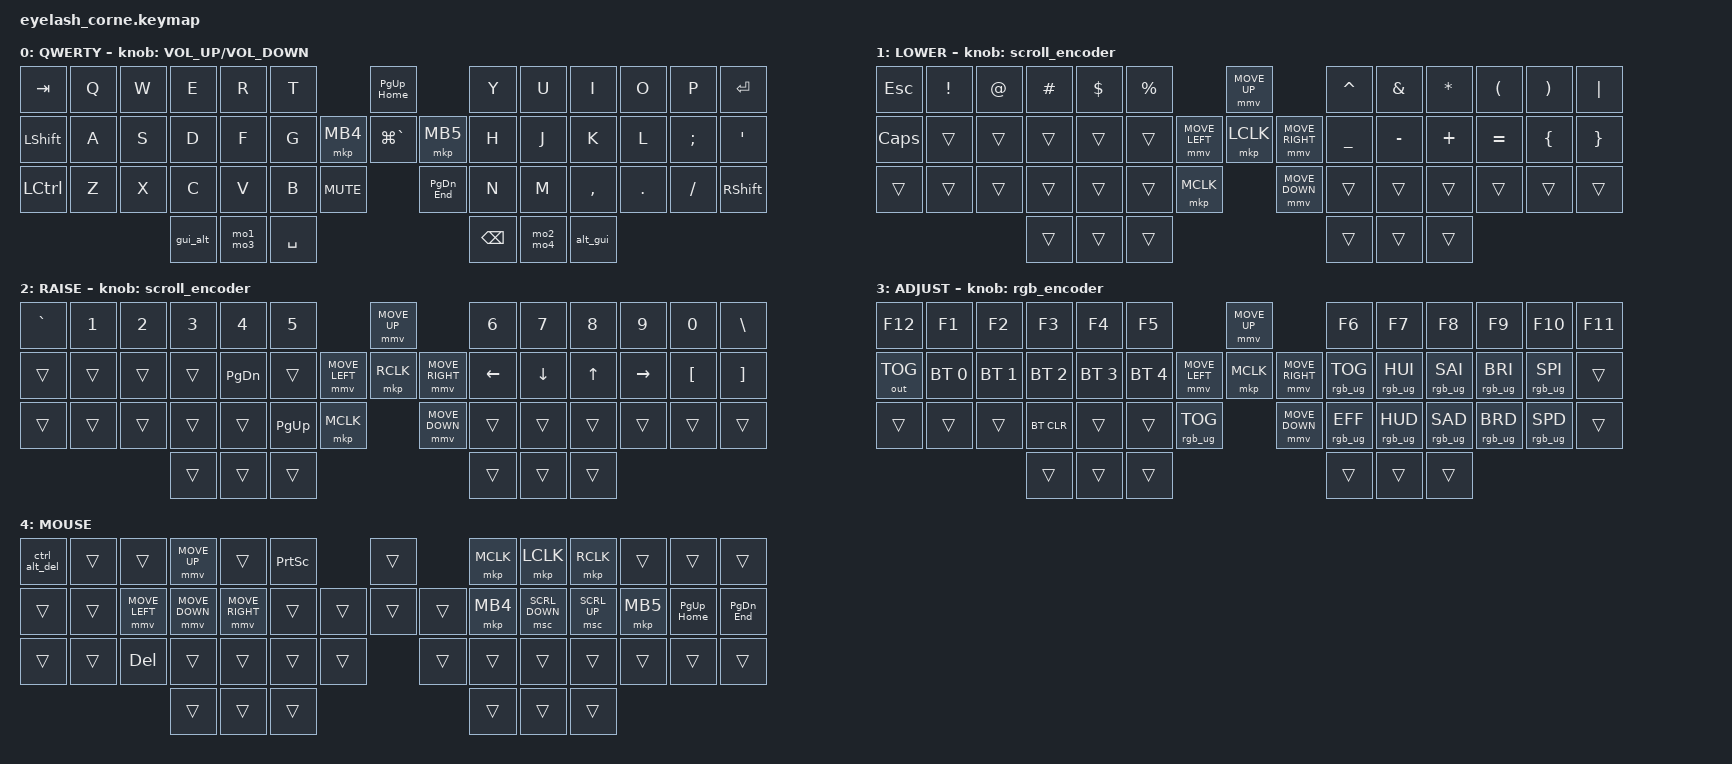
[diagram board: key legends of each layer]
#define ZMK_POINTING_DEFAULT_MOVE_VAL 1200  // default: 600
#define ZMK_POINTING_DEFAULT_SCRL_VAL 15    // default: 10
#define U_MS_U &mmv MOVE_UP
#define U_MS_D &mmv MOVE_DOWN
#define U_MS_L &mmv MOVE_LEFT
#define U_MS_R &mmv MOVE_RIGHT

// https://zmk.dev/docs/keymaps/behaviors/hold-tap#example-use-cases

#define MO_TOG(layer) &mo_tog layer layer   // Macro to apply momentary-layer-on-hold/toggle-layer-on-tap to a specific layer
#define HOLD_TOG(layer) &hold_tog layer layer

#include <input/processors.dtsi>
#include <zephyr/dt-bindings/input/input-event-codes.h>
#include <behaviors.dtsi>
#include <dt-bindings/zmk/bt.h>
#include <dt-bindings/zmk/keys.h>
#include <dt-bindings/zmk/outputs.h>
#include <dt-bindings/zmk/pointing.h>
#include <dt-bindings/zmk/rgb.h>

&mmv_input_listener { input-processors = <&zip_xy_scaler 2 1>; };

&msc_input_listener { input-processors = <&zip_scroll_scaler 2 1>; };

&msc {
    acceleration-exponent = <0>;      // 0
    time-to-max-speed-ms = <100>;       // 300
    delay-ms = <0>;                   // 0
};

&mmv {
    time-to-max-speed-ms = <500>;
    acceleration-exponent = <0>;
    trigger-period-ms = <16>;
};

&soft_off { hold-time-ms = <2000>; };

/ {
    behaviors {
        hold_tog: hold_toggle {
            compatible = "zmk,behavior-hold-tap";
            #binding-cells = <2>;
            tapping_term_ms = <500>;
            quick_tap_ms = <0>;
            flavor = "tap-preferred";
            bindings = <&tog>, <&mo>;
        };

        // Tap for Page up, Double Tap for Home
        PgUp_Home: PgUp_Home {
            compatible = "zmk,behavior-tap-dance";
            #binding-cells = <0>;
            tapping-term-ms = <400>;
            bindings = <&kp PG_UP>, <&kp HOME>;
        };

        // Tap for Page Down, Double Tap for End
        PgDn_End: PgDn_End {
            compatible = "zmk,behavior-tap-dance";
            #binding-cells = <0>;
            tapping-term-ms = <400>;
            bindings = <&kp PG_DN>, <&kp END>;
        };

        // Tap for Left GUI, Double Tap for Left Alt
        gui_alt: gui_alt {
            compatible = "zmk,behavior-tap-dance";
            #binding-cells = <0>;
            tapping-term-ms = <200>;
            bindings = <&kp LGUI>, <&kp LALT>;
        };

        // Tap for Right Alt, Double Tap for Right GUI
        alt_gui: alt_gui {
            compatible = "zmk,behavior-tap-dance";
            #binding-cells = <0>;
            tapping-term-ms = <200>;
            bindings = <&kp RALT>, <&kp RGUI>;
        };
        

        // Hold for layer 1, double tap and hold for layer 3
        mo1_mo3: mo1_mo3 {
            compatible = "zmk,behavior-tap-dance";
            #binding-cells = <0>;
            tapping-term-ms = <400>;
            bindings = <&mo 1>, <&mo 3>;
        };

        // Hold for layer 2, double tap and hold for layer 4
        mo2_mo4: mo2_mo4 {
            compatible = "zmk,behavior-tap-dance";
            #binding-cells = <0>;
            tapping-term-ms = <400>;
            bindings = <&mo 2>, <&mo 4>;
        };

        // Hold for layer 2, double tap and hold to toggle layer 4
        mo2_holdtog4: mo2_holdtog4 {
            compatible = "zmk,behavior-tap-dance";
            label = "MO2_HOLDTOG4";
            #binding-cells = <0>;
            bindings = <&mo 2>, <&hold_tog 4 2>;
            tapping-term-ms = <200>;
        };

        hrm: hr {
            compatible = "zmk,behavior-hold-tap";
            label = "hrm";
            bindings = <&kp>, <&kp>;

            #binding-cells = <2>;
            tapping-term-ms = <200>;
            flavor = "balanced";
            quick-tap-ms = <150>;
        };
    };

    macros {
        ctrl_alt_del: ctrl_alt_del {
          compatible = "zmk,behavior-macro";
          #binding-cells = <0>;
          bindings
              = <&kp LC(LA(DEL))>
              ;
        };

    };

    rgb_encoder: rgb_encoder {
        compatible = "zmk,behavior-sensor-rotate";
        #sensor-binding-cells = <0>;
        bindings = <&rgb_ug RGB_BRI>, <&rgb_ug RGB_BRD>;
    };

    scroll_encoder: scroll_encoder {
        compatible = "zmk,behavior-sensor-rotate";
        #sensor-binding-cells = <0>;
        bindings = <&msc SCRL_DOWN>, <&msc SCRL_UP>;

        tap-ms = <30>;
    };

    combos {
        compatible = "zmk,combos";

        softoff {
            bindings = <&soft_off>;
            key-positions = <1 15 29>;
        };
    };

    keymap {
        compatible = "zmk,keymap";

        default_layer {
            display-name = "QWERTY";
            bindings = <
//        ┌──────┬───┬───┬──────────┬─────────┬─────┐             ┌────────────┐      ┌──────┬─────────┬──────────┬───┬───┬──────┐
//        │ tab  │ Q │ W │    E     │    R    │  T  │             │ &PgUp_Home │      │  Y   │    U    │    I     │ O │ P │ ent  │
//        ├──────┼───┼───┼──────────┼─────────┼─────┤      ┌──────┼────────────┼──────┼──────┼─────────┼──────────┼───┼───┼──────┤
//        │ lsft │ A │ S │    D     │    F    │  G  │      │ mbck │  lgui(`)   │ mfwd │  H   │    J    │    K     │ L │ ; │  '   │
//        ├──────┼───┼───┼──────────┼─────────┼─────┼──────┼──────┼────────────┼──────┼──────┼─────────┼──────────┼───┼───┼──────┤
//        │ lctl │ Z │ X │    C     │    V    │  B  │ mute │      │ &PgDn_End  │      │  N   │    M    │    ,     │ . │ / │ rsft │
//        └──────┴───┴───┼──────────┼─────────┼─────┼──────┘      └────────────┘      ├──────┼─────────┼──────────┼───┴───┴──────┘
//                       │ &gui_alt │ mo1_mo3 │ spc │                                 │ bspc │ mo2_mo4 │ &alt_gui │
//                       └──────────┴─────────┴─────┘                                 └──────┴─────────┴──────────┘
      &kp TAB     &kp Q   &kp W   &kp E      &kp R      &kp T                               &PgUp_Home                 &kp Y      &kp U      &kp I       &kp O     &kp P      &kp ENTER
      &kp LSHFT   &kp A   &kp S   &kp D      &kp F      &kp G                    &mkp MB4   &kp LG(GRAVE)   &mkp MB5   &kp H      &kp J      &kp K       &kp L     &kp SEMI   &kp SQT
      &kp LCTRL   &kp Z   &kp X   &kp C      &kp V      &kp B       &kp C_MUTE              &PgDn_End                  &kp N      &kp M      &kp COMMA   &kp DOT   &kp FSLH   &kp RSHFT
                                  &gui_alt   &mo1_mo3   &kp SPACE                                                      &kp BSPC   &mo2_mo4   &alt_gui
            >;

            sensor-bindings = <&inc_dec_kp C_VOLUME_UP C_VOLUME_DOWN>;
        };

        lower_layer {
            display-name = "LOWER";
            bindings = <
//        ┌──────┬─────┬─────┬─────┬─────┬─────┐                       ┌────────────────┐                ┌─────┬─────┬─────┬─────┬─────┬─────┐
//        │ esc  │  !  │  @  │  #  │  $  │  %  │                       │  &mmv MOVE_up  │                │  ^  │  &  │  *  │  (  │  )  │  |  │
//        ├──────┼─────┼─────┼─────┼─────┼─────┤      ┌────────────────┼────────────────┼────────────────┼─────┼─────┼─────┼─────┼─────┼─────┤
//        │ caps │     │     │     │     │     │      │ &mmv MOVE_left │      lclk      │ &mmv MOVE_rght │  _  │  -  │  +  │  =  │  {  │  }  │
//        ├──────┼─────┼─────┼─────┼─────┼─────┼──────┼────────────────┼────────────────┼────────────────┼─────┼─────┼─────┼─────┼─────┼─────┤
//        │      │     │     │     │     │     │ mclk │                │ &mmv MOVE_down │                │     │     │     │     │     │     │
//        └──────┴─────┴─────┼─────┼─────┼─────┼──────┘                └────────────────┘                ├─────┼─────┼─────┼─────┴─────┴─────┘
//                           │     │     │     │                                                         │     │     │     │
//                           └─────┴─────┴─────┘                                                         └─────┴─────┴─────┘
      &kp ESC    &kp EXCL   &kp AT   &kp HASH   &kp DLLR   &kp PRCNT                                &mmv MOVE_UP                       &kp CARET   &kp AMPS    &kp ASTRK   &kp LPAR    &kp RPAR   &kp PIPE
      &kp CAPS   &trans     &trans   &trans     &trans     &trans                  &mmv MOVE_LEFT   &mkp LCLK        &mmv MOVE_RIGHT   &kp UNDER   &kp MINUS   &kp PLUS    &kp EQUAL   &kp LBRC   &kp RBRC
      &trans     &trans     &trans   &trans     &trans     &trans      &mkp MCLK                    &mmv MOVE_DOWN                     &trans      &trans      &trans      &trans      &trans     &trans
                                     &trans     &trans     &trans                                                                      &trans      &trans      &trans
            >;

            sensor-bindings = <&scroll_encoder>;
        };

        raise_layer {
            display-name = "RAISE";
            bindings = <
//        ┌─────┬─────┬─────┬─────┬──────┬──────┐                       ┌────────────────┐                ┌──────┬──────┬─────┬──────┬─────┬─────┐
//        │  `  │  1  │  2  │  3  │  4   │  5   │                       │  &mmv MOVE_up  │                │  6   │  7   │  8  │  9   │  0  │  \  │
//        ├─────┼─────┼─────┼─────┼──────┼──────┤      ┌────────────────┼────────────────┼────────────────┼──────┼──────┼─────┼──────┼─────┼─────┤
//        │     │     │     │     │ pgdn │      │      │ &mmv MOVE_left │      rclk      │ &mmv MOVE_rght │ left │ down │ up  │ rght │  [  │  ]  │
//        ├─────┼─────┼─────┼─────┼──────┼──────┼──────┼────────────────┼────────────────┼────────────────┼──────┼──────┼─────┼──────┼─────┼─────┤
//        │     │     │     │     │      │ pgup │ mclk │                │ &mmv MOVE_down │                │      │      │     │      │     │     │
//        └─────┴─────┴─────┼─────┼──────┼──────┼──────┘                └────────────────┘                ├──────┼──────┼─────┼──────┴─────┴─────┘
//                          │     │      │      │                                                         │      │      │     │
//                          └─────┴──────┴──────┘                                                         └──────┴──────┴─────┘
      &kp GRAVE   &kp N1   &kp N2   &kp N3   &kp N4      &kp N5                                   &mmv MOVE_UP                       &kp N6     &kp N7     &kp N8   &kp N9      &kp N0     &kp BSLH
      &trans      &trans   &trans   &trans   &kp PG_DN   &trans                  &mmv MOVE_LEFT   &mkp RCLK        &mmv MOVE_RIGHT   &kp LEFT   &kp DOWN   &kp UP   &kp RIGHT   &kp LBKT   &kp RBKT
      &trans      &trans   &trans   &trans   &trans      &kp PG_UP   &mkp MCLK                    &mmv MOVE_DOWN                     &trans     &trans     &trans   &trans      &trans     &trans
                                    &trans   &trans      &trans                                                                      &trans     &trans     &trans
            >;

            sensor-bindings = <&scroll_encoder>;
        };

        layer_3 {
            display-name = "ADJUST";
            bindings = <
//        ┌──────────┬──────────┬──────────┬──────────┬──────────┬──────────┐                          ┌────────────────┐                ┌─────────┬─────────┬─────────┬─────────┬─────────┬─────┐
//        │   f12    │    f1    │    f2    │    f3    │    f4    │    f5    │                          │  &mmv MOVE_up  │                │   f6    │   f7    │   f8    │   f9    │   f10   │ f11 │
//        ├──────────┼──────────┼──────────┼──────────┼──────────┼──────────┤         ┌────────────────┼────────────────┼────────────────┼─────────┼─────────┼─────────┼─────────┼─────────┼─────┤
//        │ out_ tog │ bt_sel 0 │ bt_sel 1 │ bt_sel 2 │ bt_sel 3 │ bt_sel 4 │         │ &mmv MOVE_left │      mclk      │ &mmv MOVE_rght │ ug_ tog │ ug_ hu+ │ ug_ sa+ │ ug_ br+ │ ug_ sp+ │     │
//        ├──────────┼──────────┼──────────┼──────────┼──────────┼──────────┼─────────┼────────────────┼────────────────┼────────────────┼─────────┼─────────┼─────────┼─────────┼─────────┼─────┤
//        │          │          │          │  bt_clr  │          │          │ ug_ tog │                │ &mmv MOVE_down │                │ ug_ eff │ ug_ hu- │ ug_ sa- │ ug_ br- │ ug_ sp- │     │
//        └──────────┴──────────┴──────────┼──────────┼──────────┼──────────┼─────────┘                └────────────────┘                ├─────────┼─────────┼─────────┼─────────┴─────────┴─────┘
//                                         │          │          │          │                                                            │         │         │         │
//                                         └──────────┴──────────┴──────────┘                                                            └─────────┴─────────┴─────────┘
      &kp F12        &kp F1         &kp F2         &kp F3         &kp F4         &kp F5                                            &mmv MOVE_UP                       &kp F6            &kp F7            &kp F8            &kp F9            &kp F10           &kp F11
      &out OUT_TOG   &bt BT_SEL 0   &bt BT_SEL 1   &bt BT_SEL 2   &bt BT_SEL 3   &bt BT_SEL 4                     &mmv MOVE_LEFT   &mkp MCLK        &mmv MOVE_RIGHT   &rgb_ug RGB_TOG   &rgb_ug RGB_HUI   &rgb_ug RGB_SAI   &rgb_ug RGB_BRI   &rgb_ug RGB_SPI   &trans
      &trans         &trans         &trans         &bt BT_CLR     &trans         &trans         &rgb_ug RGB_TOG                    &mmv MOVE_DOWN                     &rgb_ug RGB_EFF   &rgb_ug RGB_HUD   &rgb_ug RGB_SAD   &rgb_ug RGB_BRD   &rgb_ug RGB_SPD   &trans
                                                   &trans         &trans         &trans                                                                               &trans            &trans            &trans
            >;

            sensor-bindings = <&rgb_encoder>;
        };

        layer_4 {
            bindings = <
//        ┌───────────────┬─────┬────────────────┬────────────────┬────────────────┬──────┐           ┌─────┐     ┌──────┬────────────────┬──────────────┬──────┬────────────┬───────────┐
//        │ &ctrl_alt_del │     │                │  &mmv MOVE_up  │                │ pscr │           │     │     │ mclk │      lclk      │     rclk     │      │            │           │
//        ├───────────────┼─────┼────────────────┼────────────────┼────────────────┼──────┤     ┌─────┼─────┼─────┼──────┼────────────────┼──────────────┼──────┼────────────┼───────────┤
//        │               │     │ &mmv MOVE_left │ &mmv MOVE_down │ &mmv MOVE_rght │      │     │     │     │     │ mbck │ &msc SCRL_down │ &msc SCRL_up │ mfwd │ &PgUp_Home │ &PgDn_End │
//        ├───────────────┼─────┼────────────────┼────────────────┼────────────────┼──────┼─────┼─────┼─────┼─────┼──────┼────────────────┼──────────────┼──────┼────────────┼───────────┤
//        │               │     │      del       │                │                │      │     │     │     │     │      │                │              │      │            │           │
//        └───────────────┴─────┴────────────────┼────────────────┼────────────────┼──────┼─────┘     └─────┘     ├──────┼────────────────┼──────────────┼──────┴────────────┴───────────┘
//                                               │                │                │      │                       │      │                │              │
//                                               └────────────────┴────────────────┴──────┘                       └──────┴────────────────┴──────────────┘
      &ctrl_alt_del   &trans   &trans           &mmv MOVE_UP     &trans            &kp PRINTSCREEN                     &trans            &mkp MCLK   &mkp LCLK        &mkp RCLK      &trans     &trans       &trans
      &trans          &trans   &mmv MOVE_LEFT   &mmv MOVE_DOWN   &mmv MOVE_RIGHT   &trans                     &trans   &trans   &trans   &mkp MB4    &msc SCRL_DOWN   &msc SCRL_UP   &mkp MB5   &PgUp_Home   &PgDn_End
      &trans          &trans   &kp DEL          &trans           &trans            &trans            &trans            &trans            &trans      &trans           &trans         &trans     &trans       &trans
                                                &trans           &trans            &trans                                                &trans      &trans           &trans
            >;

            label = "MOUSE";
        };
    };
};
